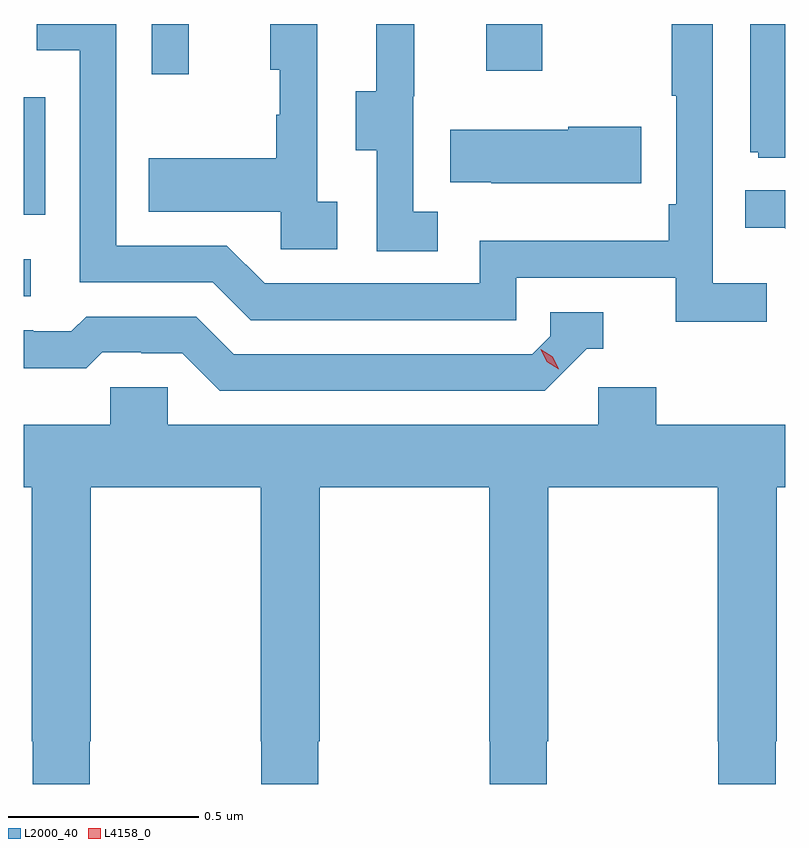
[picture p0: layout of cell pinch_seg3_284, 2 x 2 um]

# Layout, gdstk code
import gdstk
lib = gdstk.Library(unit=1e-6, precision=1e-09)
def R(c, l, rs):  # rectangles x0, y0, x1, y1
    for r in rs: c.add(gdstk.rectangle(r[:2], r[2:], *l))
def P(c, l, *ps):  # polygons
    for p in ps: c.add(gdstk.Polygon(p, *l))
L2000_40 = (2000, 40)
L4158_0 = (4158, 0)

pinch_seg3_284 = lib.new_cell('pinch_seg3_284')
R(pinch_seg3_284, L2000_40, [(924.009,712.074,924.028,712.17), (924.009,712.287,924.066,712.596), (924.345,712.656,924.443,712.788), (925.223,712.665,925.371,712.788)])
P(pinch_seg3_284, L2000_40, [(926.009,712.788),(925.916,712.788),(925.916,712.452),(925.938,712.452),(925.938,712.437),(926.009,712.437)],
  [(924.832,712.322),(924.78,712.322),(924.78,712.788),(924.656,712.788),(924.656,712.668),(924.682,712.668),(924.682,712.55),(924.672,712.55),(924.672,712.435),(924.337,712.435),(924.337,712.295),(924.684,712.295),(924.684,712.197),(924.832,712.197)],
  [(925.096,712.295),(925.032,712.295),(925.032,712.599),(925.034,712.599),(925.034,712.788),(924.935,712.788),(924.935,712.611),(924.881,712.611),(924.881,712.456),(924.936,712.456),(924.936,712.192),(925.096,712.192)],
  [(925.96,712.108),(925.818,712.108),(925.818,712.788),(925.71,712.788),(925.71,712.6),(925.722,712.6),(925.722,712.315),(925.702,712.315),(925.702,712.219),(925.206,712.219),(925.206,712.107),(924.642,712.107),(924.543,712.206),(924.252,712.206),(924.252,712.788),(924.043,712.788),(924.043,712.719),(924.156,712.719),(924.156,712.11),(924.506,712.11),(924.605,712.011),(925.302,712.011),(925.302,712.122),(925.721,712.122),(925.721,712.006),(925.96,712.006)],
  [(925.63,712.518),(925.439,712.518),(925.439,712.51),(925.129,712.51),(925.129,712.373),(925.237,712.373),(925.237,712.37),(925.63,712.37)],
  [(926.009,712.352),(925.903,712.352),(925.903,712.253),(926.007,712.253),(926.009,712.251)],
  [(925.488,711.936),(925.531,711.936),(925.531,712.032),(925.392,712.032),(925.392,711.969),(925.344,711.921),(924.561,711.921),(924.462,712.02),(924.173,712.02),(924.134,711.981),(924.035,711.981),(924.035,711.984),(924.009,711.984),(924.009,711.885),(924.173,711.885),(924.215,711.927),(924.318,711.927),(924.318,711.924),(924.425,711.924),(924.524,711.825),(925.377,711.825)],
  [(924.009,711.572),(924.031,711.572),(924.031,710.905),(924.033,710.905),(924.033,710.793),(924.183,710.793),(924.183,710.905),(924.186,710.905),(924.186,711.572),(924.631,711.572),(924.631,710.905),(924.633,710.905),(924.633,710.793),(924.783,710.793),(924.783,710.905),(924.786,710.905),(924.786,711.572),(925.231,711.572),(925.231,710.905),(925.233,710.905),(925.233,710.793),(925.383,710.793),(925.383,710.905),(925.386,710.905),(925.386,711.572),(925.831,711.572),(925.831,710.905),(925.833,710.905),(925.833,710.793),(925.983,710.793),(925.983,710.905),(925.986,710.905),(925.986,711.572),(926.009,711.572),(926.009,711.736),(925.67,711.736),(925.67,711.834),(925.518,711.834),(925.518,711.736),(924.387,711.736),(924.387,711.834),(924.237,711.834),(924.237,711.736),(924.009,711.736)])
P(pinch_seg3_284, L4158_0, [(925.414,711.882),(925.383,711.901),(925.367,711.934),(925.367,711.934),(925.367,711.934),(925.398,711.915),(925.414,711.883),(925.414,711.882)])

lib.write_gds('pinch_seg3_284.gds')
